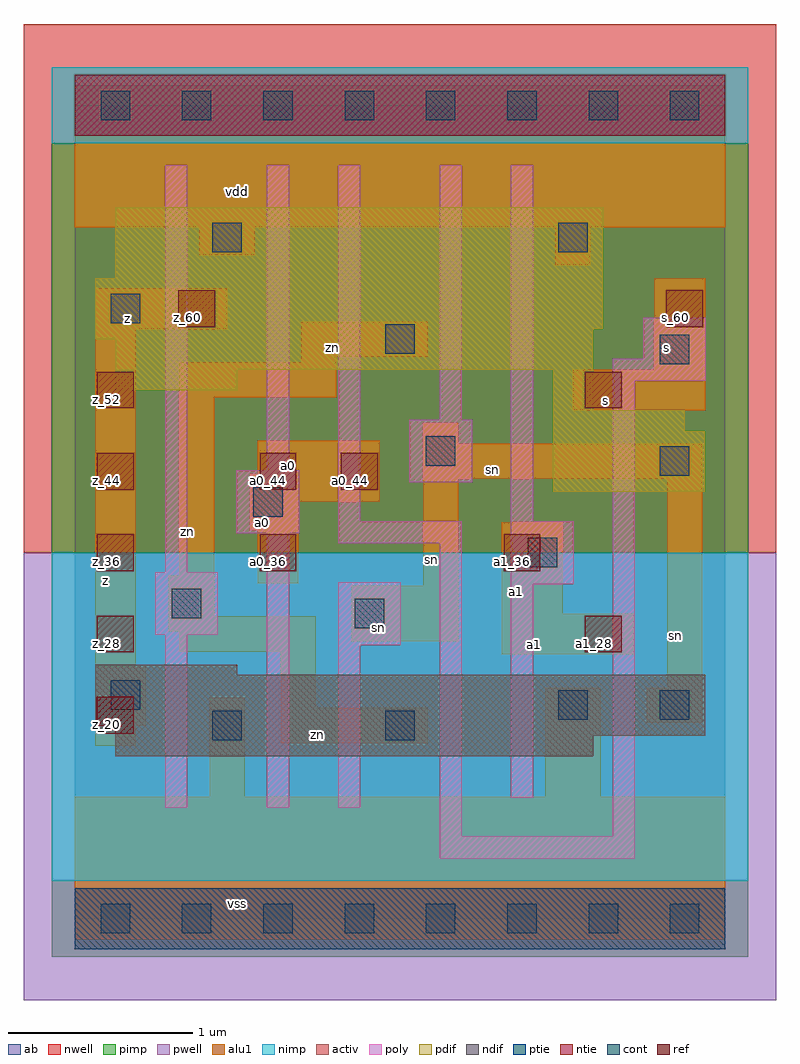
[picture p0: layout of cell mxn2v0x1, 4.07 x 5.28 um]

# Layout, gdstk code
import gdstk
lib = gdstk.Library(unit=1e-6, precision=2.5e-09)
def R(c, l, rs):  # rectangles x0, y0, x1, y1
    for r in rs: c.add(gdstk.rectangle(r[:2], r[2:], *l))
def A(c, l, x, y, w, h, nx, ny, dx, dy):  # array of equal rectangles
    R(c, l, [(x+i*dx, y+j*dy, x+i*dx+w, y+j*dy+h) for i in range(nx) for j in range(ny)])
ndif = (3, 0)
pdif = (4, 0)
ntie = (5, 0)
ptie = (6, 0)
ref = (24, 0)
cont = (25, 0)
pwell = (41, 0)
nwell = (42, 0)
activ = (43, 0)
pimp = (44, 0)
nimp = (45, 0)
poly = (46, 0)
alu1 = (49, 0)
ab = (63, 0)

mxn2v0x1 = lib.new_cell('mxn2v0x1')
R(mxn2v0x1, ndif, [(0.22,0.88,2.805,0.99), (0.22,0.99,3.41,1.045), (0.11,1.045,3.41,1.32), (0.11,1.32,0.88,1.375)])
R(mxn2v0x1, pdif, [(2.585,2.31,3.41,2.64), (2.585,2.64,3.3,2.75), (2.585,2.75,2.805,2.97), (0.22,2.86,0.88,2.97), (0.22,2.97,2.805,3.135), (0.11,3.135,2.805,3.19), (0.11,3.19,2.86,3.465), (0.22,3.465,2.86,3.85)])
R(mxn2v0x1, ntie, [(0,4.235,3.52,4.565)])
R(mxn2v0x1, ptie, [(0,-0.165,3.52,0.165)])
A(mxn2v0x1, ref, 0.12, 1, 0.2, 0.2, 1, 5, 0, 0.44)
R(mxn2v0x1, ref, [(2.76,1.44,2.96,1.64), (1,1.88,1.2,2.08), (2.32,1.88,2.52,2.08), (1,2.32,1.2,2.52), (1.44,2.32,1.64,2.52), (2.76,2.76,2.96,2.96), (0.56,3.2,0.76,3.4), (3.2,3.2,3.4,3.4)])
A(mxn2v0x1, cont, 0.14, -0.08, 0.16, 0.16, 8, 2, 0.44, 4.4)
R(mxn2v0x1, cont, [(0.745,0.965,0.905,1.125), (1.68,0.965,1.84,1.125), (2.615,1.075,2.775,1.235), (3.165,1.075,3.325,1.235), (0.195,1.13,0.355,1.29), (1.515,1.57,1.675,1.73), (0.525,1.625,0.685,1.785), (2.45,1.9,2.61,2.06), (0.965,2.175,1.125,2.335), (3.165,2.395,3.325,2.555), (1.9,2.45,2.06,2.61), (3.165,3,3.325,3.16), (1.68,3.055,1.84,3.215), (0.195,3.22,0.355,3.38), (0.745,3.605,0.905,3.765), (2.615,3.605,2.775,3.765)])
R(mxn2v0x1, pwell, [(-0.275,-0.44,3.795,1.98)])
R(mxn2v0x1, nwell, [(-0.275,1.98,3.795,4.84)])
R(mxn2v0x1, activ, [(0,-0.165,3.52,0.165), (0.22,0.88,2.805,0.99), (0.22,0.99,3.41,1.045), (0.11,1.045,3.41,1.32), (0.11,1.32,0.88,1.375), (2.585,2.31,3.41,2.64), (2.585,2.64,3.3,2.75), (2.585,2.75,2.805,2.97), (0.22,2.86,0.88,2.97), (0.22,2.97,2.805,3.135), (0.11,3.135,2.805,3.19), (0.11,3.19,2.86,3.465), (0.22,3.465,2.86,3.85), (0,4.235,3.52,4.565)])
R(mxn2v0x1, pimp, [(-0.125,-0.205,3.645,0.205), (-0.125,1.98,3.645,4.195)])
R(mxn2v0x1, nimp, [(-0.125,0.205,3.645,1.98), (-0.125,4.195,3.645,4.605)])
R(mxn2v0x1, poly, [(1.975,0.325,3.03,0.445), (1.975,0.445,2.095,2.03), (2.91,0.445,3.03,2.91), (0.49,0.6,0.61,1.535), (1.04,0.6,1.16,2.085), (1.425,0.6,1.545,1.48), (2.36,0.655,2.48,1.81), (1.425,1.48,1.765,1.82), (0.435,1.535,0.775,1.875), (2.36,1.81,2.7,2.15), (0.49,1.875,0.61,4.075), (1.425,2.03,2.095,2.15), (0.875,2.085,1.215,2.425), (1.425,2.15,1.545,4.075), (2.36,2.15,2.48,4.075), (1.81,2.36,2.15,2.7), (1.04,2.425,1.16,4.075), (1.975,2.7,2.095,4.075), (2.91,2.91,3.415,3.03), (3.075,3.03,3.415,3.25)])
R(mxn2v0x1, alu1, [(0,-0.11,3.52,0.66), (0.73,0.66,0.92,1.195), (2.545,0.66,2.845,1.25), (0.11,0.935,0.33,1.045), (1.115,0.95,1.91,1.14), (0.11,1.045,0.385,1.375), (3.095,1.06,3.395,1.25), (1.115,1.14,1.305,1.445), (3.205,1.25,3.395,2.38), (0.11,1.375,0.33,3.19), (2.31,1.43,3.025,1.65), (0.565,1.445,1.305,1.555), (1.5,1.5,2.075,1.8), (0.51,1.555,1.305,1.635), (0.51,1.635,0.755,1.855), (2.31,1.65,2.64,2.145), (1.885,1.8,2.075,2.38), (0.99,1.815,1.21,2.105), (0.565,1.855,0.755,2.82), (0.95,2.105,1.21,2.255), (0.95,2.255,1.65,2.405), (1.885,2.38,3.395,2.57), (0.99,2.405,1.65,2.585), (1.885,2.57,2.075,2.68), (2.695,2.75,3.41,2.97), (0.565,2.82,1.415,3.01), (3.135,2.97,3.41,3.465), (1.225,3.01,1.415,3.04), (1.225,3.04,1.91,3.23), (0.11,3.19,0.825,3.41), (2.6,3.535,2.79,3.74), (0.675,3.59,0.975,3.74), (0,3.74,3.52,4.51)])
R(mxn2v0x1, ab, [(0,0,3.52,4.4)])
mxn2v0x1.add(gdstk.Label('vss', (0.88,0.0825), layer=49, texttype=0))
mxn2v0x1.add(gdstk.Label('zn', (1.3125,0.9975), layer=49, texttype=0))
mxn2v0x1.add(gdstk.Label('sn', (3.2525,1.5325), layer=49, texttype=0))
mxn2v0x1.add(gdstk.Label('a1', (2.4875,1.485), layer=49, texttype=0))
mxn2v0x1.add(gdstk.Label('a1', (2.3925,1.7725), layer=49, texttype=0))
mxn2v0x1.add(gdstk.Label('sn', (1.6425,1.575), layer=49, texttype=0))
mxn2v0x1.add(gdstk.Label('sn', (1.9325,1.945), layer=49, texttype=0))
mxn2v0x1.add(gdstk.Label('a0', (1.015,2.1425), layer=49, texttype=0))
mxn2v0x1.add(gdstk.Label('sn', (2.2625,2.4275), layer=49, texttype=0))
mxn2v0x1.add(gdstk.Label('a0', (1.155,2.45), layer=49, texttype=0))
mxn2v0x1.add(gdstk.Label('s', (2.8725,2.805), layer=49, texttype=0))
mxn2v0x1.add(gdstk.Label('zn', (0.6125,2.095), layer=49, texttype=0))
mxn2v0x1.add(gdstk.Label('s', (3.2025,3.0925), layer=49, texttype=0))
mxn2v0x1.add(gdstk.Label('zn', (1.395,3.0875), layer=49, texttype=0))
mxn2v0x1.add(gdstk.Label('z', (0.165,1.8275), layer=49, texttype=0))
mxn2v0x1.add(gdstk.Label('z', (0.2875,3.245), layer=49, texttype=0))
mxn2v0x1.add(gdstk.Label('vdd', (0.88,3.9325), layer=49, texttype=0))
mxn2v0x1.add(gdstk.Label('z_60', (0.61,3.25), layer=24, texttype=0))
mxn2v0x1.add(gdstk.Label('a0_44', (1.05,2.37), layer=24, texttype=0))
mxn2v0x1.add(gdstk.Label('s_52', (2.81,2.81), layer=24, texttype=0))
mxn2v0x1.add(gdstk.Label('a1_28', (2.81,1.49), layer=24, texttype=0))
mxn2v0x1.add(gdstk.Label('a1_36', (2.37,1.93), layer=24, texttype=0))
mxn2v0x1.add(gdstk.Label('z_52', (0.17,2.81), layer=24, texttype=0))
mxn2v0x1.add(gdstk.Label('z_44', (0.17,2.37), layer=24, texttype=0))
mxn2v0x1.add(gdstk.Label('z_36', (0.17,1.93), layer=24, texttype=0))
mxn2v0x1.add(gdstk.Label('z_20', (0.17,1.05), layer=24, texttype=0))
mxn2v0x1.add(gdstk.Label('z_28', (0.17,1.49), layer=24, texttype=0))
mxn2v0x1.add(gdstk.Label('s_60', (3.25,3.25), layer=24, texttype=0))
mxn2v0x1.add(gdstk.Label('a0_44', (1.49,2.37), layer=24, texttype=0))
mxn2v0x1.add(gdstk.Label('a0_36', (1.05,1.93), layer=24, texttype=0))

lib.write_gds('mxn2v0x1.gds')
